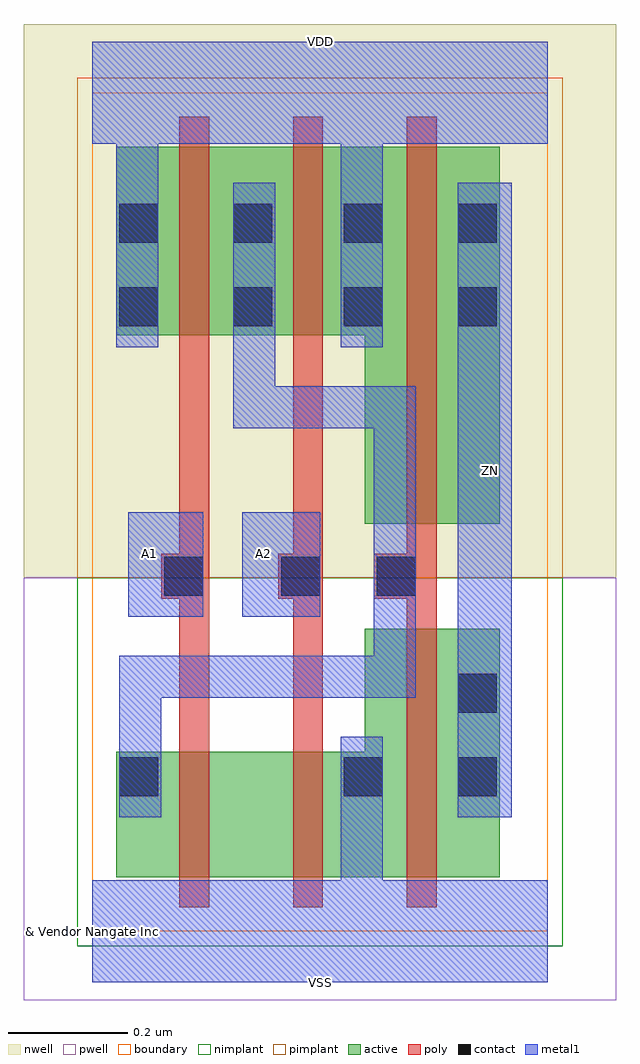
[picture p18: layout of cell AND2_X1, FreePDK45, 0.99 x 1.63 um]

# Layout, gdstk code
import gdstk
lib = gdstk.Library(unit=1e-6, precision=1e-10)
def R(c, l, rs):  # rectangles x0, y0, x1, y1
    for r in rs: c.add(gdstk.rectangle(r[:2], r[2:], *l))
def P(c, l, *ps):  # polygons
    for p in ps: c.add(gdstk.Polygon(p, *l))
active = (1, 0)
pwell = (2, 0)
nwell = (3, 0)
nimplant = (4, 0)
pimplant = (5, 0)
poly = (9, 0)
contact = (10, 0)
metal1 = (11, 0)
boundary = (235, 0)

and2_x1 = lib.new_cell('AND2_X1')
P(and2_x1, active, [(0.04,0.09),(0.04,0.3),(0.455,0.3),(0.455,0.505),(0.68,0.505),(0.68,0.09)],
  [(0.455,0.68),(0.455,0.995),(0.04,0.995),(0.04,1.31),(0.68,1.31),(0.68,0.68)])
R(and2_x1, pwell, [(-0.115,-0.115,0.875,0.59)])
R(and2_x1, nwell, [(-0.115,0.59,0.875,1.515)])
R(and2_x1, nimplant, [(-0.025,-0.025,0.785,0.59)])
R(and2_x1, pimplant, [(-0.025,0.59,0.785,1.425)])
P(and2_x1, poly, [(0.145,0.04),(0.145,0.555),(0.115,0.555),(0.115,0.63),(0.145,0.63),(0.145,1.36),(0.195,1.36),(0.195,0.04)],
  [(0.335,0.04),(0.335,0.555),(0.31,0.555),(0.31,0.63),(0.335,0.63),(0.335,1.36),(0.385,1.36),(0.385,0.04)],
  [(0.525,0.04),(0.525,0.555),(0.47,0.555),(0.47,0.63),(0.525,0.63),(0.525,1.36),(0.575,1.36),(0.575,0.04)])
R(and2_x1, contact, [(0.045,0.225,0.11,0.29), (0.42,0.225,0.485,0.29), (0.61,0.225,0.675,0.29), (0.61,0.365,0.675,0.43), (0.12,0.56,0.185,0.625), (0.315,0.56,0.38,0.625), (0.475,0.56,0.54,0.625), (0.045,1.01,0.11,1.075), (0.235,1.01,0.3,1.075), (0.42,1.01,0.485,1.075), (0.61,1.01,0.675,1.075), (0.045,1.15,0.11,1.215), (0.235,1.15,0.3,1.215), (0.42,1.15,0.485,1.215), (0.61,1.15,0.675,1.215)])
R(and2_x1, metal1, [(0.61,0.19,0.7,1.25), (0.06,0.525,0.185,0.7), (0.25,0.525,0.38,0.7)])
P(and2_x1, metal1, [(0.045,0.19),(0.045,0.46),(0.47,0.46),(0.47,0.84),(0.235,0.84),(0.235,1.25),(0.305,1.25),(0.305,0.91),(0.54,0.91),(0.54,0.39),(0.115,0.39),(0.115,0.19)],
  [(0,-0.085),(0,0.085),(0.415,0.085),(0.415,0.325),(0.485,0.325),(0.485,0.085),(0.76,0.085),(0.76,-0.085)],
  [(0.04,0.975),(0.04,1.315),(0,1.315),(0,1.485),(0.76,1.485),(0.76,1.315),(0.485,1.315),(0.485,0.975),(0.415,0.975),(0.415,1.315),(0.11,1.315),(0.11,0.975)])
R(and2_x1, boundary, [(0,0,0.76,1.4)])
and2_x1.add(gdstk.Label('A1', (0.095,0.63), layer=11, texttype=0))
and2_x1.add(gdstk.Label('A2', (0.285,0.63), layer=11, texttype=0))
and2_x1.add(gdstk.Label('VDD', (0.38,1.485), layer=11, texttype=0))
and2_x1.add(gdstk.Label('VSS', (0.38,-0.085), layer=11, texttype=0))
and2_x1.add(gdstk.Label('ZN', (0.665,0.77), layer=11, texttype=0))
and2_x1.add(gdstk.Label('& Vendor Nangate Inc', (0,0), layer=63, texttype=63))
and2_x1.add(gdstk.Label('& Product Open Cell Library', (0,0), layer=63, texttype=63))
and2_x1.add(gdstk.Label('& Version 2010_12', (0,0), layer=63, texttype=63))
and2_x1.add(gdstk.Label('& Instance AND2_X1', (0,0), layer=63, texttype=63))

lib.write_gds('AND2_X1.gds')
